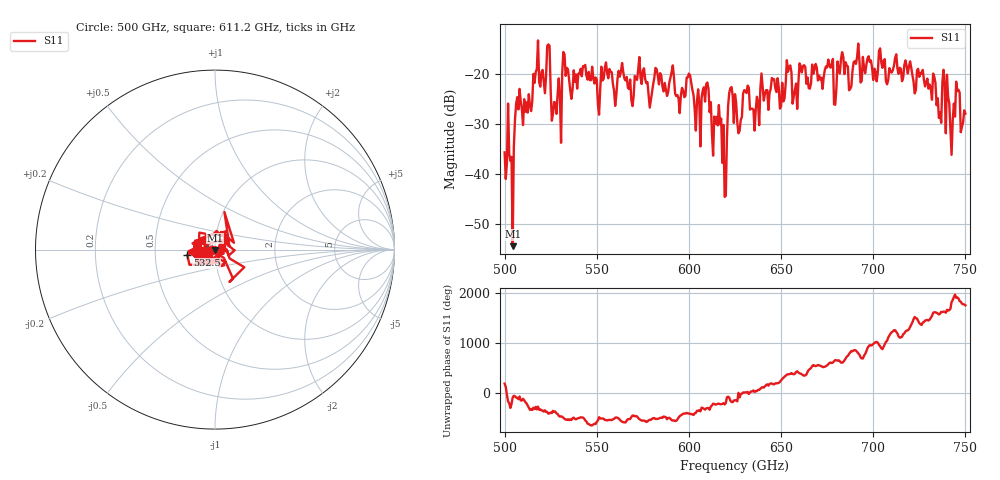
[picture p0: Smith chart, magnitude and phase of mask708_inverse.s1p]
!Created with skrf (http://scikit-rf.org).
# GHz S MA R 50.0
!freq magS11 angS11
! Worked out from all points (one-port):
!   401 points, 500 GHz to 750 GHz, reference 50 ohm
!   lowest |S11| = -54.4 dB at 504.4 GHz (marker M1), VSWR 1.00, Z = 50 - j0.189 ohm
!   |S11| at or under -10 dB: start of sweep to end of sweep
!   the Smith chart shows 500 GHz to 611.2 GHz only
!   S11 on the Smith chart (normalised r, x): 500 GHz: 0.97, +0.00; 532.5 GHz: 0.73, -0.04; 611.2 GHz: 1.08, +0.02
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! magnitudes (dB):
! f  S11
! 500 GHz  -35.6
! 504.4 GHz  -54.4
! 506.9 GHz  -24.6
! 513.8 GHz  -26.3
! 516.9 GHz  -19.6
! 523.8 GHz  -14.1
! 526.9 GHz  -25.6
! 531.2 GHz  -19.8
! 532.5 GHz  -16.1
! 550.6 GHz  -26.1
! 562.5 GHz  -20.5
! 579.4 GHz  -25.2
! 590.6 GHz  -19.6
! 593.8 GHz  -24.2
! 600 GHz  -19.9
! 605 GHz  -23.1
! 611.2 GHz  -27.6
! 617.5 GHz  -28.9
! 619.4 GHz  -44.5
! 622.5 GHz  -22.8
! 625 GHz  -24.0
! 656.2 GHz  -25.9
! 687.5 GHz  -23.0
! 691.2 GHz  -16.6
! 718.8 GHz  -19.9
! 743.1 GHz  -29.3
! 745.6 GHz  -23.4
! 750 GHz  -27.9
